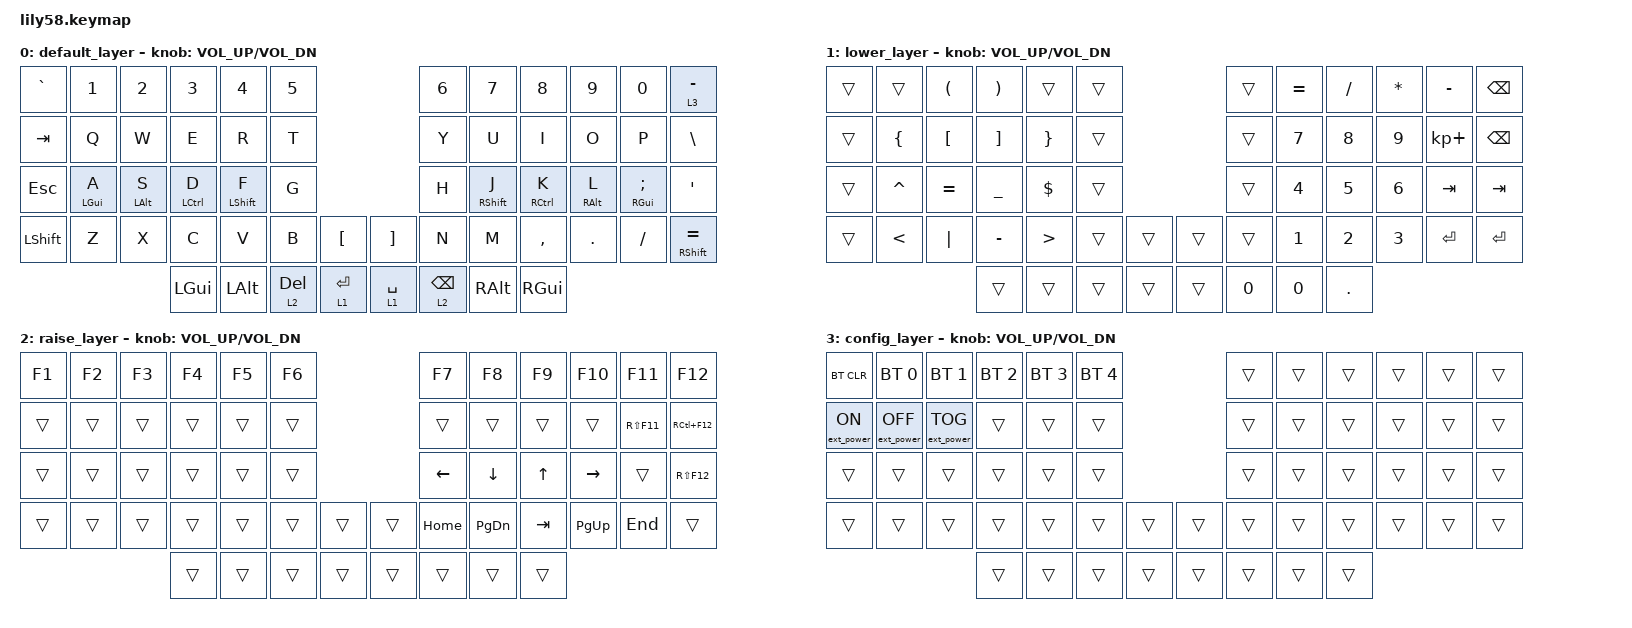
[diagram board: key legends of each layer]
/*
 * Copyright (c) 2020 The ZMK Contributors
 *
 * SPDX-License-Identifier: MIT
 */

#include <behaviors.dtsi>
#include <dt-bindings/zmk/keys.h>
#include <dt-bindings/zmk/bt.h>
#include <dt-bindings/zmk/ext_power.h>

/ {
    keymap {
        compatible = "zmk,keymap";

        default_layer {
            bindings = <
&kp GRAVE     &kp N1     &kp N2     &kp N3      &kp N4      &kp N5                               &kp N6     &kp N7      &kp N8      &kp N9     &kp N0        &lt 3 MINUS
&kp TAB       &kp Q      &kp W      &kp E       &kp R       &kp T                                &kp Y      &kp U       &kp I       &kp O      &kp P         &kp BSLH
&kp ESC       &mt LGUI A &mt LALT S &mt LCTRL D &mt LSHFT F &kp G                                &kp H      &mt RSHFT J &mt RCTRL K &mt RALT L &mt RGUI SEMI &kp SQT
&kp LSHFT     &kp Z      &kp X      &kp C       &kp V       &kp B      &kp LBKT      &kp RBKT    &kp N      &kp M       &kp COMMA  &kp DOT     &kp FSLH      &mt RSHFT EQUAL
                                    &kp LGUI    &kp LALT    &lt 2 DEL  &lt 1 RET     &lt 1 SPACE &lt 2 BSPC &kp RALT  &kp RGUI
            >;

            sensor-bindings = <&inc_dec_kp C_VOL_UP C_VOL_DN>;
        };

        lower_layer {
            bindings = <
&trans  &trans    &kp LPAR  &kp RPAR  &trans    &trans                     &trans    &kp EQUAL &kp FSLH  &kp STAR &kp MINUS    &kp BSPC
&trans  &kp LBRC  &kp LBKT  &kp RBKT  &kp RBRC  &trans                     &trans    &kp N7    &kp N8    &kp N9   &kp KP_PLUS  &kp BSPC
&trans  &kp CARET &kp EQUAL &kp UNDER &kp DLLR  &trans                     &trans    &kp N4    &kp N5    &kp N6   &kp TAB      &kp TAB
&trans  &kp LT    &kp PIPE  &kp MINUS &kp GT    &trans  &trans     &trans  &trans    &kp N1    &kp N2    &kp N3   &kp RET      &kp RET
                            &trans    &trans    &trans  &trans     &trans  &kp N0    &kp N0    &kp DOT
            >;

            sensor-bindings = <&inc_dec_kp C_VOL_UP C_VOL_DN>;
        };

        raise_layer {
            bindings = <
&kp F1  &kp F2 &kp F3 &kp F4  &kp F5  &kp F6                       &kp F7      &kp F8    &kp F9    &kp F10   &kp F11     &kp F12
&trans  &trans &trans &trans  &trans  &trans                       &trans      &trans    &trans    &trans    &kp RS(F11) &kp RC(F12)
&trans  &trans &trans &trans  &trans  &trans                       &kp LEFT    &kp DOWN  &kp UP    &kp RIGHT &trans      &kp RS(F12)
&trans  &trans &trans &trans  &trans  &trans &trans         &trans &kp HOME    &kp PG_DN &kp TAB   &kp PG_UP &kp END    &trans
                      &trans  &trans  &trans &trans         &trans &trans      &trans    &trans
            >;

            sensor-bindings = <&inc_dec_kp C_VOL_UP C_VOL_DN>;
        };
        
        config_layer {
            bindings = <
&bt BT_CLR       &bt BT_SEL 0      &bt BT_SEL 1      &bt BT_SEL 2  &bt BT_SEL 3 &bt BT_SEL 4            &trans    &trans    &trans    &trans   &trans    &trans
&ext_power EP_ON &ext_power EP_OFF &ext_power EP_TOG &trans        &trans       &trans                  &trans    &trans    &trans    &trans   &trans    &trans
&trans           &trans            &trans            &trans        &trans       &trans                  &trans    &trans    &trans    &trans   &trans    &trans
&trans           &trans            &trans            &trans        &trans       &trans &trans    &trans &trans    &trans    &trans    &trans   &trans    &trans
                                                                &trans &trans &trans   &trans    &trans    &trans      &trans    &trans
            >;

            sensor-bindings = <&inc_dec_kp C_VOL_UP C_VOL_DN>;
        };
    };
};
